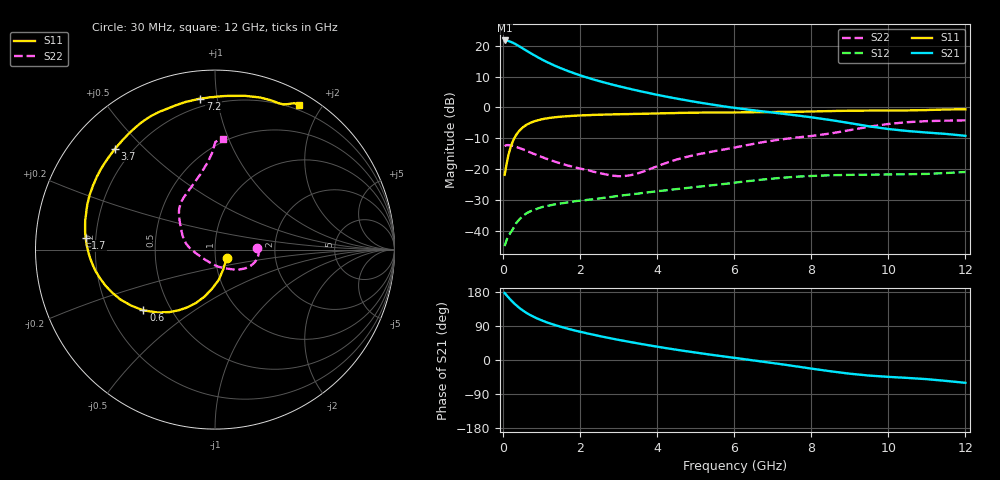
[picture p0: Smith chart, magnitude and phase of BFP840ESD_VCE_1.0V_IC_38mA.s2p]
! Infineon Technologies  Discrete & RF Semiconductors
! BFP840ESD
! VCE =  1.0 V,  IC =  38 mA
! Common Emitter S-Parameters:  May 2012
# GHz  S  MA  R  50
!  f  S11  S21  S12  S22
! GHz  MAG  ANG  MAG  ANG  MAG  ANG  MAG  ANG
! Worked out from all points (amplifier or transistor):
!   93 points, 30 MHz to 12 GHz, reference 50 ohm
!   highest |S21| = 21.7 dB at 30 MHz (marker M1)
!   |S21| within 3 dB of that: start of sweep to 556.8 MHz
!   unconditionally stable (mu >= 1): start of sweep to end of sweep
!   at 1.1 GHz: K = 1.95, MAG = 17.9 dB, |S12| = -32.0 dB
!   at 4.2 GHz: K = 2.63, MAG = 8.2 dB, |S12| = -26.9 dB
!   at 12 GHz: K = 1.72, MAG = 0.9 dB, |S12| = -21.0 dB
!   S11 on the Smith chart (normalised r, x): 30 MHz: 1.14, -0.11; 600 MHz: 0.35, -0.33; 1.7 GHz: 0.16, +0.04; 3.7 GHz: 0.14, +0.41; 7.2 GHz: 0.15, +0.90; 12 GHz: 0.14, +1.72
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0.03  0.0805 -35.3  12.21 176.8  0.0056 19.7  0.236 2.0
0.08  0.1182 -66.9  12.15 170.8  0.007 28.5  0.2442 -2.6
0.13  0.1703 -83.0  11.97 165.1  0.0083 35.0  0.2447 -6.5
0.23  0.2691 -102.7  11.31 154.3  0.0102 42.0  0.2383 -13.4
0.28  0.3155 -109.6  10.93 149.3  0.0116 43.9  0.2343 -16.4
0.33  0.3575 -115.7  10.51 144.7  0.0132 44.3  0.2293 -19.2
0.43  0.43 -126.0  9.664 136.2  0.0156 44.2  0.2176 -24.6
0.5  0.4728 -132.1  9.095 130.9  0.0171 43.9  0.2093 -27.8
0.6  0.5235 -139.7  8.319 124.2  0.0192 41.5  0.1975 -32.1
0.8  0.5949 -152.0  7.02 113.2  0.0218 38.6  0.1753 -39.3
1  0.6425 -161.8  5.996 104.3  0.0241 36.4  0.1566 -45.2
1.3  0.6876 -173.2  4.866 93.5  0.0265 34.2  0.1341 -53.2
1.7  0.7235 174.8  3.848 81.8  0.029 32.9  0.1129 -64.7
2.1  0.7446 164.9  3.155 72.0  0.031 31.8  0.0984 -77.3
2.8  0.7694 150.5  2.37 57.0  0.0353 31.9  0.0786 -107.1
3.7  0.7913 134.7  1.752 40.2  0.0415 31.2  0.094 -159.0
4.1  0.801 128.5  1.553 33.4  0.0443 29.7  0.1174 -174.2
6.1  0.8302 107.1  0.966 4.3  0.0611 23.0  0.2299 146.5
7.2  0.8447 95.6  0.797 -10.9  0.0718 14.5  0.3012 131.4
8.5  0.8729 79.0  0.624 -29.8  0.0793 2.3  0.3781 109.6
10.5  0.8937 64.9  0.414 -47.3  0.0823 -11.3  0.5763 90.5
12  0.9334 60.0  0.346 -60.2  0.0896 -18.3  0.6171 85.6
